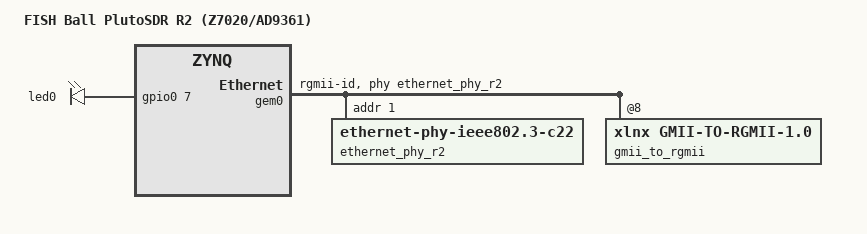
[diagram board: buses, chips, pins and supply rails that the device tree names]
// SPDX-License-Identifier: GPL-2.0
/*
 * PlutoSky R2 - Zynq XC7Z020-CLG484 + AD9361 (or AD9363, by SKU), two receive
 * and two transmit chains, Gigabit Ethernet on the FPGA, a 10 MHz reference
 * input.
 *
 * THIS IS THE R1's TREE WITH THE R2's DIFFERENCES ON TOP, and nothing else:
 * it includes zynq-pluto-sdr-fishball.dts and overrides. The radio, the SD
 * card, the DMA channels, the flash layout and the sample-GPIO names are the
 * R1's and are not repeated here, so a fix to one of them reaches both boards.
 * In particular the transmit attenuation the driver probes with (89.75 dB,
 * the muted state) is inherited - do not restate it here, where it could
 * drift from the R1's.
 *
 * WHERE EACH DIFFERENCE COMES FROM. Not from reading the board by eye: from
 * the R2's own factory device tree, read off a running unit (/sys/firmware/fdt
 * under its QSPI firmware v0.38-5-g76414-dirty, 2026-11-18) and diffed against
 * this repo's R1 tree, and from the vendor's source for that firmware,
 *     github.com/OpenSourceSDRLab/PlutoSky-R2, the patch in firmware/source
 * The two agree on every value below.
 *
 * NOT YET BOOTED. Written on 2026-11-18, before an R2 bitstream of this
 * repo's design existed to boot it with. Ethernet in particular is the
 * vendor's 5.15 description carried to 6.12, where the MAC driver is the
 * same but the GMII-to-RGMII glue is mainline's rather than Xilinx's.
 *
 * Needs CONFIG_XILINX_GMII2RGMII, which the R1 does not: config/r2.config.
 *
 * Copyright (C) 2026 Matthieu
 */
#include "zynq-pluto-sdr-fishball.dts"

/ {
	/*
	 * "PlutoSDR" stays in the string because host software finds the
	 * board by it; "FISH Ball" because this repo's own tools print it.
	 */
	model = "FISH Ball PlutoSDR R2 (Z7020/AD9361)";

	leds {
		led0 {
			/*
			 * MIO 7 on the R2; the R1's is MIO 0. The LABEL stays
			 * "led0:green" although the factory tree calls this one
			 * "led0:yellow": the userspace that makes the LED follow
			 * the transmitter opens /sys/class/leds/led0:green, and a
			 * transmit indicator that silently stops working is worse
			 * than a colour that is wrong in a path name.
			 */
			gpios = <&gpio0 7 0>;
		};
	};
};

/*
 * Ethernet. The largest difference between the two boards.
 *
 * R1: the RTL8211F hangs off PS MIO 16-27 (RGMII) and MIO 52/53 (MDIO), at
 *     PHY address 0. The MAC talks to it directly.
 * R2: those MIO pins are plain GPIO. GEM0 comes out through EMIO as GMII into
 *     a Xilinx gmii_to_rgmii core in the FPGA, and the core's RGMII side goes
 *     to the RTL8211F on bank-35 pins. The core answers on the same MDIO bus
 *     at address 8 (it has one register: the speed it should convert at); the
 *     PHY is at address 1.
 *
 * So the R1's PHY node is removed rather than edited - there is nothing at
 * address 0 - and two nodes replace it. The kernel's xilinx_gmii2rgmii driver
 * binds the converter node, finds the PHY through its phy-handle, and hooks
 * the PHY's link-state read so that every time the link changes it writes the
 * negotiated speed into the core (register 0x10). Without that driver nothing
 * writes it, and the core stays at whatever speed it resets to.
 *
 * phy-mode is NOT the factory tree's value. That says "rgmii-rxid", and on
 * 6.12 the Realtek driver takes it literally and switches the RTL8211F's
 * transmit-clock delay off (page 0xd08, register 0x11, bit 8). Measured on an
 * R2 on 2026-11-20: with it off the link comes up at 1 Gbit/s and receives,
 * but nothing the board sends arrives - DHCP never completes. Setting the bit
 * by hand made DHCP and ping work at once. "rgmii-id" keeps both delays on,
 * which is what the board needs: neither the FPGA core nor the traces add one.
 */
/delete-node/ &ethernet_phy;

&gem0 {
	phy-mode = "rgmii-id";
	phy-handle = <&ethernet_phy_r2>;

	ethernet_phy_r2: ethernet-phy@1 {
		reg = <1>;
		/*
		 * Generic clause 22, as on the R1: the driver is chosen from
		 * the ID the chip reports. The factory tree instead names
		 * "ethernet-phy-id011c.c916", which is not the RTL8211F's ID
		 * (001c.c916) and matches the Realtek driver only because of
		 * that driver's mask.
		 */
		compatible = "ethernet-phy-ieee802.3-c22";
	};

	gmii_to_rgmii: gmiitorgmii@8 {
		compatible = "xlnx,gmii-to-rgmii-1.0";
		reg = <8>;
		phy-handle = <&ethernet_phy_r2>;
	};
};

/*
 * The USB3320's reset is MIO 46, active high, on the R2; ADI's dtsi says
 * MIO 52, active low, which on this board is not the PHY's reset at all.
 * The factory tree's value.
 *
 * This is NOT what makes USB work on the R2. With an R1 boot image the pin was
 * already high and USB was still dead: that image configures MIO bank 501 for
 * 1.8 V and the R2 powers it at 3.3 V. The bank voltage comes from the FSBL,
 * which is generated from the XSA - so it is the R2 XSA that fixes USB, and
 * this property only stops the tree describing a pin the board does not have.
 */
&usb0 {
	xlnx,phy-reset-gpio = <&gpio0 46 0>;
};
